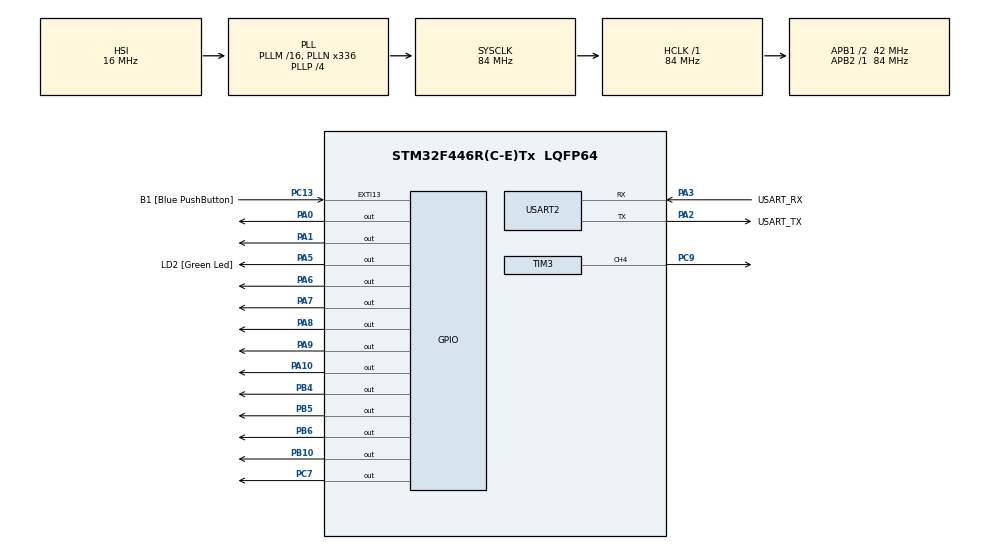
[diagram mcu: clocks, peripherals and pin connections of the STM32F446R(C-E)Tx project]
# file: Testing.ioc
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Mcu.Family=STM32F4
Mcu.Name=STM32F446R(C-E)Tx
Mcu.Package=LQFP64
NVIC.PriorityGroup=NVIC_PRIORITYGROUP_0
PA0-WKUP.Signal=GPIO_Output
PA1.Signal=GPIO_Output
PA10.Signal=GPIO_Output
PA13.GPIO_Label=TMS
PA13.Mode=Serial_Wire
PA13.Signal=SYS_JTMS-SWDIO
PA14.GPIO_Label=TCK
PA14.Mode=Serial_Wire
PA14.Signal=SYS_JTCK-SWCLK
PA2.GPIO_Label=USART_TX
PA2.Mode=Asynchronous
PA2.Signal=USART2_TX
PA3.GPIO_Label=USART_RX
PA3.Mode=Asynchronous
PA3.Signal=USART2_RX
PA5.GPIO_Label=LD2 [Green Led]
PA5.Signal=GPIO_Output
PA6.Signal=GPIO_Output
PA7.Signal=GPIO_Output
PA8.Signal=GPIO_Output
PA9.Signal=GPIO_Output
PB10.Signal=GPIO_Output
PB3.GPIO_Label=SWO
PB3.Signal=SYS_JTDO-SWO
PB4.Signal=GPIO_Output
PB5.PinState=GPIO_PIN_RESET
PB5.Signal=GPIO_Output
PB6.Signal=GPIO_Output
PC13.GPIO_Label=B1 [Blue PushButton]
PC13.GPIO_ModeDefaultEXTI=GPIO_MODE_IT_FALLING
PC13.Signal=GPXTI13
PC14-OSC32_IN.Mode=LSE-External-Oscillator
PC14-OSC32_IN.Signal=RCC_OSC32_IN
PC15-OSC32_OUT.Mode=LSE-External-Oscillator
PC15-OSC32_OUT.Signal=RCC_OSC32_OUT
PC7.Signal=GPIO_Output
PC9.Signal=S_TIM3_CH4
PH0-OSC_IN.Mode=HSE-External-Oscillator
PH0-OSC_IN.Signal=RCC_OSC_IN
PH1-OSC_OUT.Mode=HSE-External-Oscillator
PH1-OSC_OUT.Signal=RCC_OSC_OUT
ProjectManager.HeapSize=0x200
ProjectManager.StackSize=0x400
ProjectManager.TargetToolchain=STM32CubeIDE
RCC.48MHZClocksFreq_Value=84000000
RCC.AHBFreq_Value=84000000
RCC.APB1CLKDivider=RCC_HCLK_DIV2
RCC.APB1Freq_Value=42000000
RCC.APB1TimFreq_Value=84000000
RCC.APB2Freq_Value=84000000
RCC.APB2TimFreq_Value=84000000
RCC.CortexFreq_Value=84000000
RCC.FLatency-AdvancedSettings=FLASH_LATENCY_2
RCC.HCLKFreq_Value=84000000
RCC.HSE_VALUE=8000000
RCC.HSI_VALUE=16000000
RCC.PLLN=336
RCC.PLLP=RCC_PLLP_DIV4
RCC.SYSCLKFreq_VALUE=84000000
RCC.SYSCLKSource=RCC_SYSCLKSOURCE_PLLCLK
RCC.USBFreq_Value=168000000
RCC.VCOOutputFreq_Value=336000000
SH.S_TIM3_CH4.0=TIM3_CH4,PWM Generation4 CH4
TIM3.Channel-PWM\ Generation4\ CH4=TIM_CHANNEL_4
TIM3.Period=19999
TIM3.Prescaler=83
TIM3.Pulse-PWM\ Generation4\ CH4=1500
USART2.VirtualMode=VM_ASYNC
VP_TIM3_VS_ClockSourceINT.Mode=Internal
board=NUCLEO-F446RE

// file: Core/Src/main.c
/* USER CODE BEGIN Header */
/**
  ******************************************************************************
  * @file           : main.c
  * @brief          : Main program body
  ******************************************************************************
  * @attention
  *
  * Copyright (c) 2026 STMicroelectronics.
  * All rights reserved.
  *
  * This software is licensed under terms that can be found in the LICENSE file
  * in the root directory of this software component.
  * If no LICENSE file comes with this software, it is provided AS-IS.
  *
  ******************************************************************************
  */
/* USER CODE END Header */
#include "main.h"

/* USER CODE BEGIN PD */
#define STEPS_PER_REV 2048.0;
/* USER CODE END PD */

TIM_HandleTypeDef htim3;

UART_HandleTypeDef huart2;

void SystemClock_Config(void);
static void MX_GPIO_Init(void);
static void MX_USART2_UART_Init(void);
static void MX_TIM3_Init(void);

/* USER CODE BEGIN 0 */
GPIO_PinState pinState = 1;

const uint8_t stepSeq[4][4] = {
    {1,0,0,0},
    {0,1,0,0},
    {0,0,1,0},
    {0,0,0,1}
};

void rotateAngleWrist(float angle)
{
    int steps = (angle / 360.0) * STEPS_PER_REV;
    rotateStepperWrist(steps);
}

void rotateAnglePitch(float angle)
{
    int steps = (angle / 360.0) * STEPS_PER_REV;
    rotateStepperPitch(steps);
}

void rotateAngleYaw(float angle)
{
    int steps = (angle / 360.0) * STEPS_PER_REV;
    rotateStepperYaw(steps);
}

void stepMotorWrist(int step)
{
    HAL_GPIO_WritePin(GPIOA, GPIO_PIN_10, stepSeq[step][0]);
    HAL_GPIO_WritePin(GPIOB, GPIO_PIN_5,  stepSeq[step][1]);
    HAL_GPIO_WritePin(GPIOB, GPIO_PIN_4,  stepSeq[step][2]);
    HAL_GPIO_WritePin(GPIOB, GPIO_PIN_10, stepSeq[step][3]);
}

void stepMotorPitch(int step)
{
    HAL_GPIO_WritePin(GPIOB, GPIO_PIN_6, stepSeq[step][0]);
    HAL_GPIO_WritePin(GPIOC, GPIO_PIN_7,  stepSeq[step][1]);
    HAL_GPIO_WritePin(GPIOA, GPIO_PIN_9,  stepSeq[step][2]);
    HAL_GPIO_WritePin(GPIOA, GPIO_PIN_8, stepSeq[step][3]);
}

void stepMotorYaw(int step)
{
	HAL_GPIO_WritePin(GPIOA, GPIO_PIN_7, stepSeq[step][0]);
	HAL_GPIO_WritePin(GPIOA, GPIO_PIN_6,  stepSeq[step][1]);
	HAL_GPIO_WritePin(GPIOA, GPIO_PIN_0,  stepSeq[step][2]);
	HAL_GPIO_WritePin(GPIOA, GPIO_PIN_1, stepSeq[step][3]);

}

void rotateStepperWrist(int steps)
{
	int dir = (steps > 0) ? 1 : -1;
	    steps = abs(steps);

    for(int i=0;i<steps;i++)
    {
        for(int s=0;s<4;s++)
        {
        	int stepIndex = (dir > 0) ? s : (3 - s);
            stepMotorWrist(stepIndex);
            HAL_Delay(2); // controls speed
        }
    }
}

void rotateStepperPitch(int steps)
{
	int dir = (steps > 0) ? 1 : -1;
	    steps = abs(steps);

    for(int i=0;i<steps;i++)
    {
        for(int s=0;s<4;s++)
        {
        	int stepIndex = (dir > 0) ? s : (3 - s);
            stepMotorPitch(stepIndex);
            HAL_Delay(4); // controls speed
        }
    }
}

void rotateStepperYaw(int steps)
{
	int dir = (steps > 0) ? 1 : -1;
	    steps = abs(steps);

    for(int i=0;i<steps;i++)
    {
        for(int s=0;s<4;s++)
        {
        	int stepIndex = (dir > 0) ? s : (3 - s);
            stepMotorYaw(stepIndex);
            HAL_Delay(2); // controls speed
        }
    }
}

// Interrupt testing stuff
void HAL_GPIO_EXTI_Callback(uint16_t GPIO_Pin)
{
	if (GPIO_Pin == GPIO_PIN_8)
	{
		HAL_GPIO_WritePin(GPIOB, GPIO_PIN_5, pinState);
		if (pinState ==0)
		{
			pinState = 1;
		} else {
			pinState = 0;
		}
	}
}
/* USER CODE END 0 */

int main(void)
{

  /* MCU Configuration--------------------------------------------------------*/

  /* Reset of all peripherals, Initializes the Flash interface and the Systick. */
  HAL_Init();

  /* Configure the system clock */
  SystemClock_Config();

  /* Initialize all configured peripherals */
  MX_GPIO_Init();
  MX_USART2_UART_Init();
  MX_TIM3_Init();
  /* USER CODE BEGIN 2 */
  HAL_TIM_PWM_Start(&htim3, TIM_CHANNEL_4); // Start PWM
  /* USER CODE END 2 */

  /* Infinite loop */
  /* USER CODE BEGIN WHILE */
  while (1)
  {
	 HAL_Delay(5000);
	 rotateAngleWrist(20);
	 //HAL_Delay(2);
	 rotateAnglePitch(-20);
	 HAL_Delay(1000);
	 __HAL_TIM_SET_COMPARE(&htim3, TIM_CHANNEL_4, 1300);
	 HAL_Delay(2000);
	 rotateAnglePitch(20);
	 //HAL_Delay(2);
	 rotateAngleWrist(-20);
	 HAL_Delay(10);
	 rotateAngleYaw(-30);
	 HAL_Delay(10);
	 rotateAnglePitch(-10);
	 HAL_Delay(1000);
	 __HAL_TIM_SET_COMPARE(&htim3, TIM_CHANNEL_4, 1700);
	 HAL_Delay(2000);
	 rotateAnglePitch(10);
	 HAL_Delay(10);
	 rotateAngleYaw(30);
	 HAL_Delay(10);
	 rotateAngleWrist(40);
	 //HAL_Delay(2);
	 rotateAnglePitch(20);
	 HAL_Delay(2000);
	 rotateAnglePitch(-20);
	 //HAL_Delay(2);
	 rotateAngleWrist(-40);
	 __HAL_TIM_SET_COMPARE(&htim3, TIM_CHANNEL_4, 1500);
	 HAL_Delay(5000);
    /* USER CODE END WHILE */

  }
}

void SystemClock_Config(void)
{
  RCC_OscInitTypeDef RCC_OscInitStruct = {0};
  RCC_ClkInitTypeDef RCC_ClkInitStruct = {0};

  /** Configure the main internal regulator output voltage
  */
  __HAL_RCC_PWR_CLK_ENABLE();
  __HAL_PWR_VOLTAGESCALING_CONFIG(PWR_REGULATOR_VOLTAGE_SCALE3);

  /** Initializes the RCC Oscillators according to the specified parameters
  * in the RCC_OscInitTypeDef structure.
  */
  RCC_OscInitStruct.OscillatorType = RCC_OSCILLATORTYPE_HSI;
  RCC_OscInitStruct.HSIState = RCC_HSI_ON;
  RCC_OscInitStruct.HSICalibrationValue = RCC_HSICALIBRATION_DEFAULT;
  RCC_OscInitStruct.PLL.PLLState = RCC_PLL_ON;
  RCC_OscInitStruct.PLL.PLLSource = RCC_PLLSOURCE_HSI;
  RCC_OscInitStruct.PLL.PLLM = 16;
  RCC_OscInitStruct.PLL.PLLN = 336;
  RCC_OscInitStruct.PLL.PLLP = RCC_PLLP_DIV4;
  RCC_OscInitStruct.PLL.PLLQ = 2;
  RCC_OscInitStruct.PLL.PLLR = 2;
  if (HAL_RCC_OscConfig(&RCC_OscInitStruct) != HAL_OK)
  {
    Error_Handler();
  }

  /** Initializes the CPU, AHB and APB buses clocks
  */
  RCC_ClkInitStruct.ClockType = RCC_CLOCKTYPE_HCLK|RCC_CLOCKTYPE_SYSCLK
                              |RCC_CLOCKTYPE_PCLK1|RCC_CLOCKTYPE_PCLK2;
  RCC_ClkInitStruct.SYSCLKSource = RCC_SYSCLKSOURCE_PLLCLK;
  RCC_ClkInitStruct.AHBCLKDivider = RCC_SYSCLK_DIV1;
  RCC_ClkInitStruct.APB1CLKDivider = RCC_HCLK_DIV2;
  RCC_ClkInitStruct.APB2CLKDivider = RCC_HCLK_DIV1;

  if (HAL_RCC_ClockConfig(&RCC_ClkInitStruct, FLASH_LATENCY_2) != HAL_OK)
  {
    Error_Handler();
  }
}

static void MX_TIM3_Init(void)
{

  TIM_ClockConfigTypeDef sClockSourceConfig = {0};
  TIM_MasterConfigTypeDef sMasterConfig = {0};
  TIM_OC_InitTypeDef sConfigOC = {0};

  htim3.Instance = TIM3;
  htim3.Init.Prescaler = 83;
  htim3.Init.CounterMode = TIM_COUNTERMODE_UP;
  htim3.Init.Period = 19999;
  htim3.Init.ClockDivision = TIM_CLOCKDIVISION_DIV1;
  htim3.Init.AutoReloadPreload = TIM_AUTORELOAD_PRELOAD_DISABLE;
  if (HAL_TIM_Base_Init(&htim3) != HAL_OK)
  {
    Error_Handler();
  }
  sClockSourceConfig.ClockSource = TIM_CLOCKSOURCE_INTERNAL;
  if (HAL_TIM_ConfigClockSource(&htim3, &sClockSourceConfig) != HAL_OK)
  {
    Error_Handler();
  }
  if (HAL_TIM_PWM_Init(&htim3) != HAL_OK)
  {
    Error_Handler();
  }
  sMasterConfig.MasterOutputTrigger = TIM_TRGO_RESET;
  sMasterConfig.MasterSlaveMode = TIM_MASTERSLAVEMODE_DISABLE;
  if (HAL_TIMEx_MasterConfigSynchronization(&htim3, &sMasterConfig) != HAL_OK)
  {
    Error_Handler();
  }
  sConfigOC.OCMode = TIM_OCMODE_PWM1;
  sConfigOC.Pulse = 1500;
  sConfigOC.OCPolarity = TIM_OCPOLARITY_HIGH;
  sConfigOC.OCFastMode = TIM_OCFAST_DISABLE;
  if (HAL_TIM_PWM_ConfigChannel(&htim3, &sConfigOC, TIM_CHANNEL_4) != HAL_OK)
  {
    Error_Handler();
  }
  HAL_TIM_MspPostInit(&htim3);

}

static void MX_USART2_UART_Init(void)
{

  huart2.Instance = USART2;
  huart2.Init.BaudRate = 115200;
  huart2.Init.WordLength = UART_WORDLENGTH_8B;
  huart2.Init.StopBits = UART_STOPBITS_1;
  huart2.Init.Parity = UART_PARITY_NONE;
  huart2.Init.Mode = UART_MODE_TX_RX;
  huart2.Init.HwFlowCtl = UART_HWCONTROL_NONE;
  huart2.Init.OverSampling = UART_OVERSAMPLING_16;
  if (HAL_UART_Init(&huart2) != HAL_OK)
  {
    Error_Handler();
  }

}

static void MX_GPIO_Init(void)
{
  GPIO_InitTypeDef GPIO_InitStruct = {0};

  /* GPIO Ports Clock Enable */
  __HAL_RCC_GPIOC_CLK_ENABLE();
  __HAL_RCC_GPIOH_CLK_ENABLE();
  __HAL_RCC_GPIOA_CLK_ENABLE();
  __HAL_RCC_GPIOB_CLK_ENABLE();

  /*Configure GPIO pin Output Level */
  HAL_GPIO_WritePin(GPIOA, GPIO_PIN_0|GPIO_PIN_1|LD2_Pin|GPIO_PIN_6
                          |GPIO_PIN_7|GPIO_PIN_8|GPIO_PIN_9|GPIO_PIN_10, GPIO_PIN_RESET);

  /*Configure GPIO pin Output Level */
  HAL_GPIO_WritePin(GPIOB, GPIO_PIN_10|GPIO_PIN_4|GPIO_PIN_5|GPIO_PIN_6, GPIO_PIN_RESET);

  /*Configure GPIO pin Output Level */
  HAL_GPIO_WritePin(GPIOC, GPIO_PIN_7, GPIO_PIN_RESET);

  /*Configure GPIO pin : B1_Pin */
  GPIO_InitStruct.Pin = B1_Pin;
  GPIO_InitStruct.Mode = GPIO_MODE_IT_FALLING;
  GPIO_InitStruct.Pull = GPIO_NOPULL;
  HAL_GPIO_Init(B1_GPIO_Port, &GPIO_InitStruct);

  /*Configure GPIO pins : PA0 PA1 LD2_Pin PA6
                           PA7 PA8 PA9 PA10 */
  GPIO_InitStruct.Pin = GPIO_PIN_0|GPIO_PIN_1|LD2_Pin|GPIO_PIN_6
                          |GPIO_PIN_7|GPIO_PIN_8|GPIO_PIN_9|GPIO_PIN_10;
  GPIO_InitStruct.Mode = GPIO_MODE_OUTPUT_PP;
  GPIO_InitStruct.Pull = GPIO_NOPULL;
  GPIO_InitStruct.Speed = GPIO_SPEED_FREQ_LOW;
  HAL_GPIO_Init(GPIOA, &GPIO_InitStruct);

  /*Configure GPIO pins : PB10 PB4 PB5 PB6 */
  GPIO_InitStruct.Pin = GPIO_PIN_10|GPIO_PIN_4|GPIO_PIN_5|GPIO_PIN_6;
  GPIO_InitStruct.Mode = GPIO_MODE_OUTPUT_PP;
  GPIO_InitStruct.Pull = GPIO_NOPULL;
  GPIO_InitStruct.Speed = GPIO_SPEED_FREQ_LOW;
  HAL_GPIO_Init(GPIOB, &GPIO_InitStruct);

  /*Configure GPIO pin : PC7 */
  GPIO_InitStruct.Pin = GPIO_PIN_7;
  GPIO_InitStruct.Mode = GPIO_MODE_OUTPUT_PP;
  GPIO_InitStruct.Pull = GPIO_NOPULL;
  GPIO_InitStruct.Speed = GPIO_SPEED_FREQ_LOW;
  HAL_GPIO_Init(GPIOC, &GPIO_InitStruct);

}

void Error_Handler(void)
{
  __disable_irq();
  while (1)
  {
  }
}
